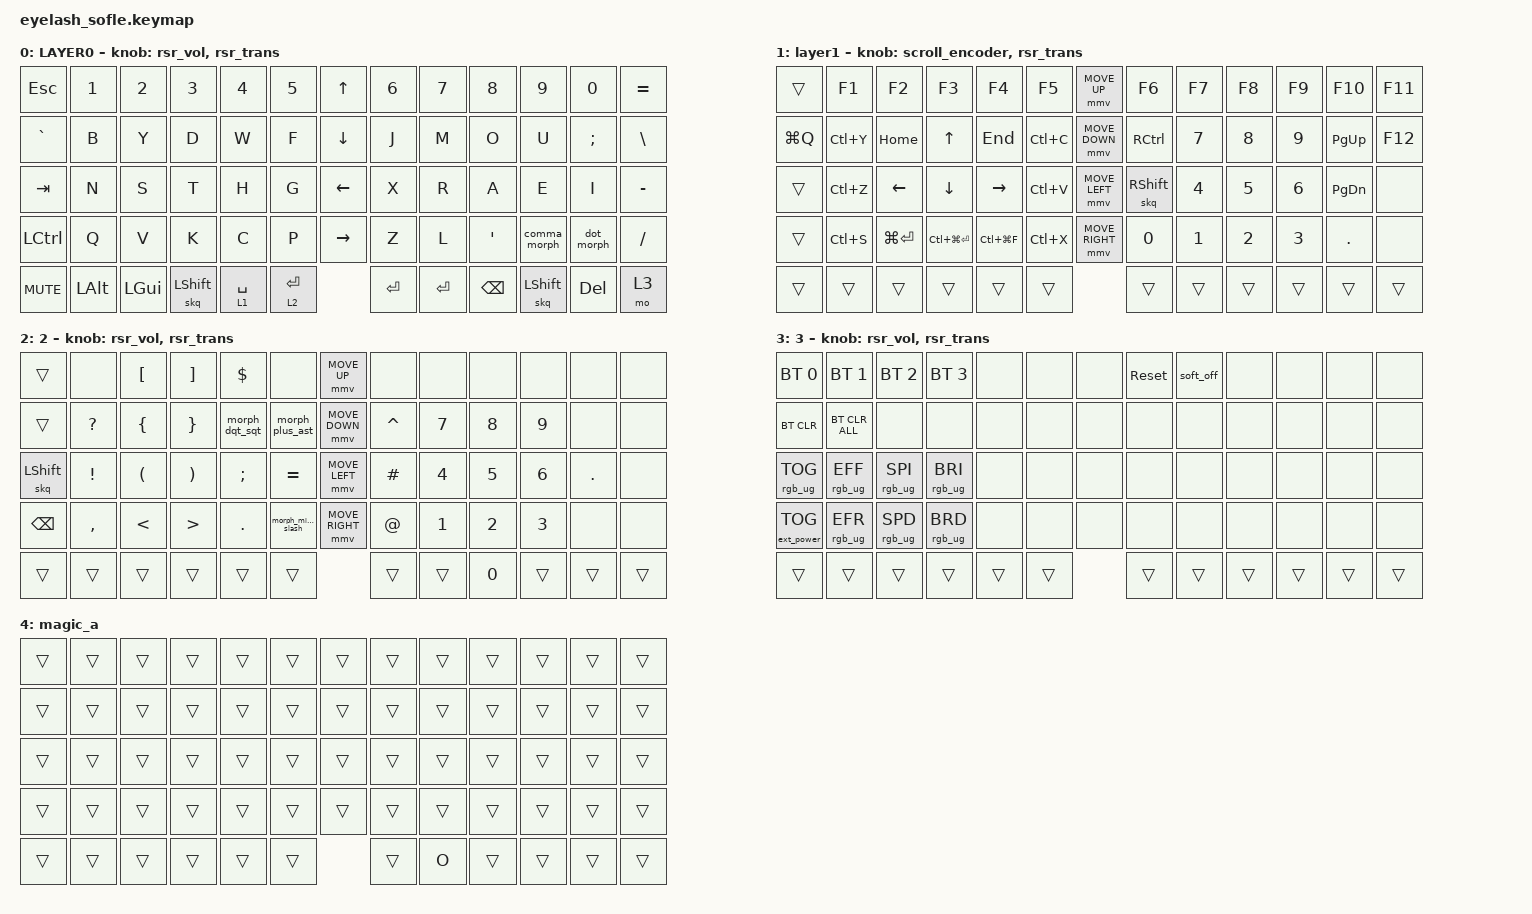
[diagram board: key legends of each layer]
#define ZMK_POINTING_DEFAULT_MOVE_VAL 1200  // 600
#define ZMK_POINTING_DEFAULT_SCRL_VAL 25   // 10

#include <input/processors.dtsi>
#include <zephyr/dt-bindings/input/input-event-codes.h>
#include <behaviors.dtsi>
#include <behaviors/runtime-sensor-rotate.dtsi>
#include <dt-bindings/zmk/bt.h>
#include <dt-bindings/zmk/keys.h>
#include <dt-bindings/zmk/outputs.h>
#include <dt-bindings/zmk/pointing.h>
#include <dt-bindings/zmk/rgb.h>
#include <dt-bindings/zmk/ext_power.h>

&mmv_input_listener { input-processors = <&zip_xy_scaler 2 1>; };

&msc_input_listener { input-processors = <&zip_scroll_scaler 2 1>; };

&msc {
    acceleration-exponent = <1>;      // 0
    time-to-max-speed-ms = <100>;     // 300
    delay-ms = <0>;                   // 0
};

&mmv {
    time-to-max-speed-ms = <500>;
    acceleration-exponent = <1>;
    trigger-period-ms = <16>;
};

&soft_off { hold-time-ms = <2000>; };

/ {
    scroll_encoder: scroll_encoder {
        compatible = "zmk,behavior-sensor-rotate";
        #sensor-binding-cells = <0>;
        bindings = <&msc SCRL_DOWN>, <&msc SCRL_UP>;

        tap-ms = <100>;
    };

    behaviors {
        rsr_vol: rsr_vol {
            compatible = "zmk,behavior-runtime-sensor-rotate";
            #sensor-binding-cells = <0>;
            tap-ms = <5>;
            cw-binding = <&kp C_VOL_UP>;
            ccw-binding = <&kp C_VOL_DN>;
        };

        rsr_trans: rsr_trans {
            compatible = "zmk,behavior-runtime-sensor-rotate";
            #sensor-binding-cells = <0>;
            tap-ms = <0>;
        };

        comma_morph: comma_morph {
            compatible = "zmk,behavior-mod-morph";
            #binding-cells = <0>;
            bindings = <&kp COMMA>, <&kp COMMA>;
            mods = <(MOD_LSFT|MOD_RSFT)>;
        };

        dot_morph: dot_morph {
            compatible = "zmk,behavior-mod-morph";
            #binding-cells = <0>;
            bindings = <&kp DOT>, <&kp DOT>;
            mods = <(MOD_LSFT|MOD_RSFT)>;
        };

        /* Morph behaviors for Layer 2 dual-symbol keys */
        morph_plus_ast: morph_plus_ast {
            compatible = "zmk,behavior-mod-morph";
            #binding-cells = <0>;
            bindings = <&kp PLUS>, <&kp ASTRK>;
            mods = <(MOD_LSFT|MOD_RSFT)>;
        };

        morph_minus_slash: morph_minus_slash {
            compatible = "zmk,behavior-mod-morph";
            #binding-cells = <0>;
            bindings = <&kp MINUS>, <&kp FSLH>;
            mods = <(MOD_LSFT|MOD_RSFT)>;
        };

        morph_dqt_sqt: morph_dqt_sqt {
            compatible = "zmk,behavior-mod-morph";
            #binding-cells = <0>;
            bindings = <&kp DQT>, <&kp SQT>;
            mods = <(MOD_LSFT|MOD_RSFT)>;
        };

        skq: sticky_key_quick_release {
            compatible = "zmk,behavior-sticky-key";
            #binding-cells = <1>;
            bindings = <&kp>;
            release-after-ms = <1000>;
            quick-release;
            ignore-modifiers;
        };

        magic_lt: magic_lt {
            compatible = "zmk,behavior-hold-tap";
            #binding-cells = <2>;
            flavor = "hold-preferred";
            tapping-term-ms = <200>;
            bindings = <&mo>, <&key_repeat>;
        };
    };

    combos {
        compatible = "zmk,combos";

        softoff {
            bindings = <&soft_off>;
            key-positions = <14 28 40>; 
        };

        combo_wh {
            timeout-ms = <50>;
            key-positions = <17 30>;
            bindings = <&macro_combo_wh>;
        };

        combo_ch {
            timeout-ms = <50>;
            key-positions = <30 43>;
            bindings = <&macro_combo_ch>;
        };

        combo_oa {
            timeout-ms = <50>;
            key-positions = <22 35>;
            bindings = <&macro_combo_oa>;
        };

        combo_gh {
            timeout-ms = <50>;
            key-positions = <18 31>;
            bindings = <&macro_combo_gh>;
        };

        combo_ph {
            timeout-ms = <50>;
            key-positions = <31 44>;
            bindings = <&macro_combo_ph>;
        };

        combo_ys {
            timeout-ms = <50>;
            key-positions = <15 28>;
            bindings = <&macro_combo_ys>;
        };

        combo_sy {
            timeout-ms = <50>;
            key-positions = <28 41>;
            bindings = <&macro_combo_sy>;
        };

        combo_nb {
            timeout-ms = <50>;
            key-positions = <14 27>;
            bindings = <&macro_combo_nb>;
        };

        combo_rl {
            timeout-ms = <50>;
            key-positions = <34 47>;
            bindings = <&macro_combo_rl>;
        };

        combo_rm {
            timeout-ms = <50>;
            key-positions = <21 34>;
            bindings = <&macro_combo_rm>;
        };
    };

    macros {
        SHIFT_MCLK: SHIFT_MCLK {
            compatible = "zmk,behavior-macro";
            #binding-cells = <0>;
            bindings =
                <&macro_press>,
                <&kp LEFT_SHIFT>,
                <&macro_press>,
                <&mkp MB3>,
                <&macro_pause_for_release>,
                <&macro_release>,
                <&kp LEFT_SHIFT &mkp MB3>;

            label = "SHIFT_MCLK";
        };

        macro_combo_wh: macro_combo_wh {
            compatible = "zmk,behavior-macro";
            #binding-cells = <0>;
            bindings = <&kp W &kp H>;
        };

        macro_combo_ch: macro_combo_ch {
            compatible = "zmk,behavior-macro";
            #binding-cells = <0>;
            bindings = <&kp C &kp H>;
        };

        macro_combo_oa: macro_combo_oa {
            compatible = "zmk,behavior-macro";
            #binding-cells = <0>;
            bindings = <&kp O &kp A>;
        };

        macro_combo_gh: macro_combo_gh {
            compatible = "zmk,behavior-macro";
            #binding-cells = <0>;
            bindings = <&kp G &kp H>;
        };

        macro_combo_ph: macro_combo_ph {
            compatible = "zmk,behavior-macro";
            #binding-cells = <0>;
            bindings = <&kp P &kp H>;
        };

        macro_combo_ys: macro_combo_ys {
            compatible = "zmk,behavior-macro";
            #binding-cells = <0>;
            bindings = <&kp Y &kp S>;
        };

        macro_combo_sy: macro_combo_sy {
            compatible = "zmk,behavior-macro";
            #binding-cells = <0>;
            bindings = <&kp S &kp Y>;
        };

        macro_combo_nb: macro_combo_nb {
            compatible = "zmk,behavior-macro";
            #binding-cells = <0>;
            bindings = <&kp N &kp B>;
        };

        macro_combo_rl: macro_combo_rl {
            compatible = "zmk,behavior-macro";
            #binding-cells = <0>;
            bindings = <&kp R &kp L>;
        };

        macro_combo_rm: macro_combo_rm {
            compatible = "zmk,behavior-macro";
            #binding-cells = <0>;
            bindings = <&kp R &kp M>;
        };
    };

    keymap {
        compatible = "zmk,keymap";

        layer0 {
            bindings = <
&kp ESC     &kp N1     &kp N2        &kp N3        &kp N4        &kp N5       &kp UP     &kp N6     &kp N7     &kp N8        &kp N9           &kp N0      &kp EQUAL
&kp GRAVE   &kp B      &kp Y         &kp D         &kp W         &kp F        &kp DOWN   &kp J      &kp M      &kp O         &kp U            &kp SEMI    &kp BSLH
&kp TAB     &kp N      &kp S         &kp T         &kp H         &kp G        &kp LEFT   &kp X      &kp R      &kp A         &kp E            &kp I       &kp MINUS
&kp LCTRL   &kp Q      &kp V         &kp K         &kp C         &kp P        &kp RIGHT  &kp Z      &kp L      &kp SQT       &comma_morph     &dot_morph  &kp FSLH
&kp C_MUTE  &kp LALT   &kp LGUI      &skq LSHIFT   &lt 1 SPACE   &lt 2 ENTER             &kp ENTER  &kp ENTER  &kp BSPC      &skq LSHIFT      &kp DEL     &mo 3
            >;

            sensor-bindings = <&rsr_vol &rsr_trans>;
            display-name = "LAYER0";
        };

        layer_1 {
            bindings = <
&trans      &kp F1     &kp F2        &kp F3             &kp F4        &kp F5       &mmv MOVE_UP     &kp F6       &kp F7     &kp F8     &kp F9           &kp F10     &kp F11
&kp LG(Q)   &kp LC(Y)  &kp HOME      &kp UP             &kp END       &kp LC(C)    &mmv MOVE_DOWN   &kp RCTRL    &kp N7     &kp N8     &kp N9           &kp PG_UP   &kp F12
&trans      &kp LC(Z)  &kp LEFT      &kp DOWN           &kp RIGHT     &kp LC(V)    &mmv MOVE_LEFT   &skq RSHIFT  &kp N4     &kp N5     &kp N6           &kp PG_DN   &none
&trans      &kp LC(S)  &kp LG(ENTER) &kp LC(LG(ENTER))  &kp LC(LG(F)) &kp LC(X)    &mmv MOVE_RIGHT  &kp N0       &kp N1     &kp N2     &kp N3           &kp DOT     &none
&trans      &trans     &trans        &trans             &trans        &trans                        &trans       &trans     &trans     &trans           &trans      &trans
            >;

            sensor-bindings = <&scroll_encoder &rsr_trans>;
            display-name = "layer1";
        };

        layer_2 {
            bindings = <
&trans      &none      &kp LBKT      &kp RBKT      &kp DLLR           &none               &mmv MOVE_UP     &none      &none      &none      &none      &none       &none
&trans      &kp QMARK  &kp LBRC      &kp RBRC      &morph_dqt_sqt     &morph_plus_ast     &mmv MOVE_DOWN   &kp CARET  &kp N7     &kp N8     &kp N9     &none       &none
&skq LSHIFT &kp EXCL   &kp LPAR      &kp RPAR      &kp SEMI           &kp EQUAL           &mmv MOVE_LEFT   &kp HASH   &kp N4     &kp N5     &kp N6     &kp DOT     &none
&kp BSPC    &kp COMMA  &kp LT        &kp GT        &kp DOT            &morph_minus_slash  &mmv MOVE_RIGHT  &kp AT     &kp N1     &kp N2     &kp N3     &none       &none
&trans      &trans     &trans        &trans        &trans             &trans                               &trans     &trans     &kp N0     &trans     &trans      &trans
            >;

            sensor-bindings = <&rsr_vol &rsr_trans>;
            display-name = "2";
        };

        layer_3 {
            bindings = <
&bt BT_SEL 0      &bt BT_SEL 1     &bt BT_SEL 2     &bt BT_SEL 3     &none  &none  &none  &sys_reset  &soft_off  &none  &none  &none  &none
&bt BT_CLR        &bt BT_CLR_ALL   &none            &none            &none  &none  &none  &none       &none      &none  &none  &none  &none
&rgb_ug RGB_TOG   &rgb_ug RGB_EFF  &rgb_ug RGB_SPI  &rgb_ug RGB_BRI  &none  &none  &none  &none       &none      &none  &none  &none  &none
&ext_power EP_TOG &rgb_ug RGB_EFR  &rgb_ug RGB_SPD  &rgb_ug RGB_BRD  &none  &none  &none  &none       &none      &none  &none  &none  &none
&trans            &trans           &trans           &trans           &trans &trans        &trans      &trans     &trans &trans &trans &trans
            >;

            sensor-bindings = <&rsr_vol &rsr_trans>;
            display-name = "3";
        };

        layer_a {
            bindings = <
&trans      &trans     &trans        &trans        &trans    &trans     &trans     &trans     &trans     &trans     &trans           &trans      &trans
&trans      &trans     &trans        &trans        &trans    &trans     &trans     &trans     &trans     &trans     &trans           &trans      &trans
&trans      &trans     &trans        &trans        &trans    &trans     &trans     &trans     &trans     &trans     &trans           &trans      &trans
&trans      &trans     &trans        &trans        &trans    &trans     &trans     &trans     &trans     &trans     &trans           &trans      &trans
&trans      &trans     &trans        &trans        &trans    &trans                &trans     &kp O      &trans     &trans           &trans      &trans
            >;
            display-name = "magic_a";
        };
    };
};
